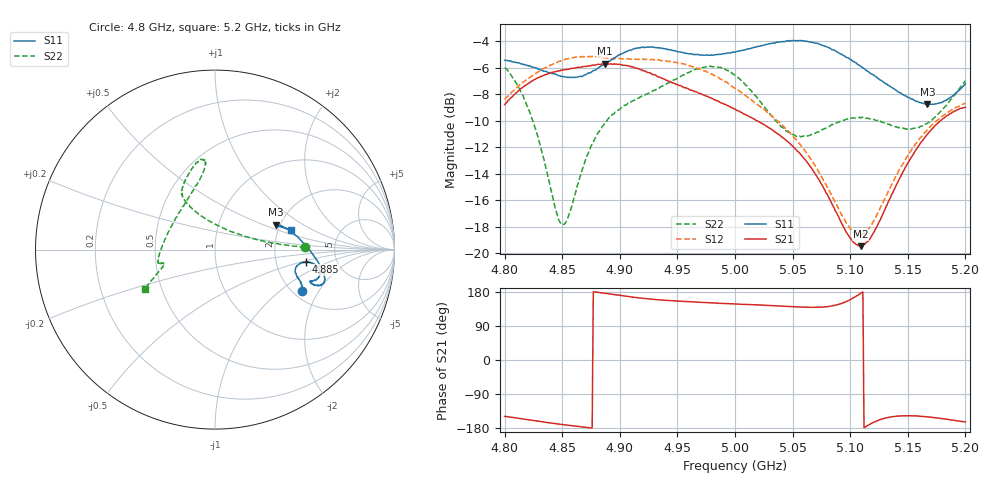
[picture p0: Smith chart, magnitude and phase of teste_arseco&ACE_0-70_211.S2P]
! Network Analyzer HP8722D
! Hewlett-Packard
! Data name: Linha & Wilkinson
! Saver's name: Rodrigo Anjos
! Comments: Teste da utilização de aquisição
! continua pelo VNA HP8722D
! Time and date: 8/5/2025 14:31
!  Frequency  S11  S21  S12  S22
# HZ  S  MA R 50
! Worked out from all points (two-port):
!   401 points, 4.8 GHz to 5.2 GHz, reference 50 ohm
!   highest |S21| = -5.69 dB at 4.887 GHz (marker M1); lowest = -19.5 dB at 5.109 GHz (marker M2)
!   |S21| within 3 dB of the highest: 4.801 GHz to 4.989 GHz (188.4 MHz wide, 3.85 % of centre)
!   lowest |S11| = -8.8 dB at 5.167 GHz (marker M3), VSWR 2.15, Z = 94.7 + j30.1 ohm
!   |S11| at or under -10 dB: nowhere
!   |S22| runs from -17.8 to -5.9 dB; largest |S21 - S12| = 1.1
!   S11 on the Smith chart (normalised r, x): 4.8 GHz: 2.23, -1.44; 4.885 GHz: 2.98, -0.56; 5.2 GHz: 2.33, +0.64
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4.8e9  0.5352 -25.5  0.364 -148.8  0.3813 10.5  0.502 1.5
4.811e9  0.5243 -22.6  0.4069 -153.3  0.4244 9.0  0.432 2.7
4.823e9  0.5064 -20.4  0.4446 -158.7  0.4637 7.3  0.329 6.2
4.845e9  0.4727 -16.8  0.4856 -168.3  0.5235 3.9  0.1429 41.5
4.849e9  0.4658 -15.9  0.491 -169.9  0.5332 3.0  0.1287 58.3
4.855e9  0.4608 -14.5  0.4951 -172.2  0.5424 2.0  0.136 84.8
4.867e9  0.464 -11.1  0.5055 -176.4  0.5507 0.5  0.2042 112.5
4.885e9  0.5122 -7.7  0.5172 177.0  0.5488 -0.7  0.3017 121.4
4.887e9  0.5191 -7.5  0.5192 176.1  0.5462 -0.7  0.3094 121.5
4.912e9  0.5906 -10.6  0.5046 165.7  0.5387 -0.2  0.3769 119.6
4.934e9  0.5948 -15.6  0.4621 158.6  0.5378 -1.4  0.4194 113.4
4.975e9  0.5601 -18.6  0.3921 151.4  0.4861 -5.1  0.5052 99.5
5e9  0.5742 -19.3  0.3503 147.7  0.4199 -5.3  0.4695 96.9
5.044e9  0.6314 -17.4  0.2677 141.7  0.295 3.0  0.29 131.2
5.067e9  0.6256 -13.3  0.2081 139.0  0.2227 9.4  0.2805 164.5
5.097e9  0.5475 -3.2  0.1193 154.7  0.1292 35.5  0.3205 -171.0
5.109e9  0.508 2.2  0.1062 175.6  0.1168 58.5  0.3238 -167.4
5.119e9  0.4744 7.3  0.1169 -166.3  0.1289 78.1  0.321 -165.8
5.134e9  0.4283 14.5  0.1589 -150.9  0.1742 94.8  0.3068 -165.5
5.167e9  0.3647 22.2  0.2807 -150.2  0.2926 102.6  0.309 -161.1
5.182e9  0.3763 20.4  0.3258 -155.6  0.3335 102.7  0.3564 -157.0
5.2e9  0.4362 14.8  0.3556 -163.4  0.3687 103.0  0.4481 -150.5
